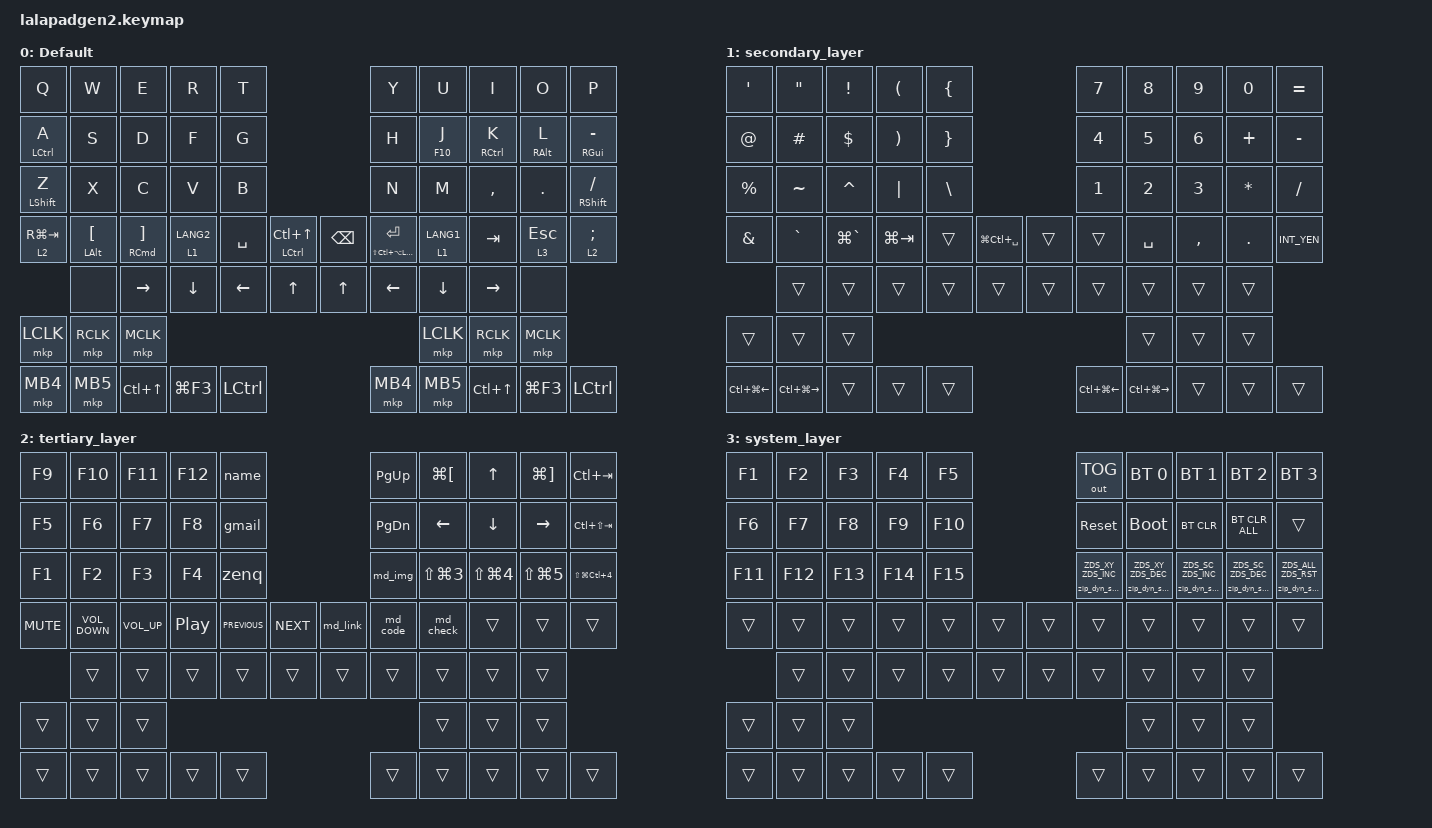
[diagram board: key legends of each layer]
#include <input/processors.dtsi>
#include <dt-bindings/zmk/zip_dynamic_scale.h>
#include <behaviors.dtsi>
#include <dt-bindings/zmk/bt.h>
#include <dt-bindings/zmk/keys.h>
#include <dt-bindings/zmk/outputs.h>
#include <dt-bindings/zmk/pointing.h>

#define DEFAULT_LAYER   0
#define SECONDARY_LAYER 1
#define TERTIARY_LAYER  2
#define SYSTEM_LAYER    3

&mt { tapping-term-ms = <120>; quick-tap-ms = <200>; };

&lt { tapping-term-ms = <120>; quick-tap-ms = <200>; };

/ {
    behaviors {
        zip_dyn_scale: zip_dyn_scale {
            compatible = "zmk,behavior-zip-dynamic-scale";
            #binding-cells = <2>;
        };

        zip_dyn_scale_set: zip_dyn_scale_set {
            compatible = "zmk,behavior-zip-dynamic-scale-set";
            #binding-cells = <2>;
        };

        mt2: mod_tap2 {
            compatible = "zmk,behavior-hold-tap";
            #binding-cells = <2>;
            flavor = "tap-preferred";
            tapping-term-ms = <120>;
            quick-tap-ms = <200>;
            require-prior-idle-ms = <125>;
            bindings = <&kp>, <&kp>;
        };

        hyper_t: hyper_tap {
            compatible = "zmk,behavior-hold-tap";
            #binding-cells = <2>;
            flavor = "hold-preferred";
            tapping-term-ms = <170>;
            quick-tap-ms = <200>;
            bindings = <&kp>, <&kp>;
        };

        tap_dance_layer_1and2: tap_dance_layer_1and2 {
            compatible = "zmk,behavior-tap-dance";
            label = "td_mo12";
            #binding-cells = <0>;
            bindings = <&mo 1>, <&mo 2>;
        };
    };

    combos {
        compatible = "zmk,combos";

        CONBO_ESC {
            bindings = <&kp ESCAPE>;
            key-positions = <0 1>;
        };
    };

    macros {
        name: name {
            compatible = "zmk,behavior-macro";
            #binding-cells = <0>;
            bindings = <&none &kp J &kp U &kp N &kp K &kp I &kp DOT &kp M &kp I &kp Y &kp A &kp N &kp A &kp R &kp I>;
            label = "NAME";
        };

        gmail: gmail {
            compatible = "zmk,behavior-macro";
            #binding-cells = <0>;
            bindings = <&none &kp AT &kp G &kp M &kp A &kp I &kp L &kp DOT &kp C &kp O &kp M>;
            label = "GMAIL";
        };

        zenq: zenq {
            compatible = "zmk,behavior-macro";
            #binding-cells = <0>;
            bindings = <&none &kp AT &kp Z &kp E &kp N &kp Q &kp DOT &kp S &kp T &kp U &kp D &kp I &kp O>;
            label = "ZENQ";
        };

        md_img: md_img {
            compatible = "zmk,behavior-macro";
            #binding-cells = <0>;
            bindings = <&none &kp LT &kp I &kp M &kp G &kp SPACE &kp S &kp R &kp C &kp EQUAL &kp DQT &kp DQT &kp SPACE &kp W &kp I &kp D &kp T &kp H &kp EQUAL &kp DQT &kp N6 &kp N0 &kp N0 &kp DQT &kp GT>;
            label = "MD_IMG";
        };

        md_link: md_link {
            compatible = "zmk,behavior-macro";
            #binding-cells = <0>;
            bindings = <&none &kp LBKT &kp RBKT &kp LPAR &kp RPAR &kp LEFT &kp LEFT &kp LEFT>;
            label = "MD_LINK";
        };

        md_code: md_code {
            compatible = "zmk,behavior-macro";
            #binding-cells = <0>;
            bindings = <&none &kp GRAVE &kp GRAVE &kp GRAVE &kp ENTER &kp ENTER &kp GRAVE &kp GRAVE &kp GRAVE &kp UP>;
            label = "MD_CODE";
        };

        md_check: md_check {
            compatible = "zmk,behavior-macro";
            #binding-cells = <0>;
            bindings = <&none &kp MINUS &kp SPACE &kp LBKT &kp SPACE &kp RBKT &kp SPACE>;
            label = "MD_CHECK";
        };
    };

    keymap {
        compatible = "zmk,keymap";

        DEFAULT_LAYER {
            display-name = "Default";
            bindings = <
&kp Q                &kp W                       &kp E                             &kp R       &kp T                                                       &kp Y        &kp U      &kp I              &kp O             &kp P
&mt2 LEFT_CONTROL A  &kp S                       &kp D                             &kp F       &kp G                                                       &kp H        &mt2 F10 J &mt2 RIGHT_CONTROL K  &mt2 RIGHT_ALT L  &mt2 RIGHT_GUI MINUS
&mt2 LEFT_SHIFT Z    &kp X                       &kp C                             &kp V       &kp B                                                       &kp N        &kp M      &kp COMMA          &kp PERIOD        &mt2 RIGHT_SHIFT SLASH
&lt 2 RG(TAB)        &mt2 LEFT_ALT LEFT_BRACKET  &mt2 RIGHT_COMMAND RIGHT_BRACKET  &lt 1 LANG2  &kp SPACE   &mt2 LEFT_CONTROL LC(UP_ARROW)  &kp BACKSPACE  &hyper_t LS(LC(LA(LGUI))) ENTER  &lt 1 LANG1  &kp TAB  &lt 3 ESC         &lt 2 SEMICOLON
                     &none                       &kp RIGHT                         &kp DOWN    &kp LEFT     &kp UP                          &kp UP         &kp LEFT     &kp DOWN   &kp RIGHT          &none
&mkp LCLK            &mkp RCLK                   &mkp MCLK                                                                                                                         &mkp LCLK          &mkp RCLK         &mkp MCLK
&mkp MB4             &mkp MB5                    &kp LC(UP_ARROW)                  &kp LG(F3)  &kp LCTRL                                                   &mkp MB4     &mkp MB5   &kp LC(UP_ARROW)   &kp LG(F3)        &kp LCTRL
            >;
        };

        SECONDARY_LAYER {
            display-name = "secondary_layer";
            bindings = <
&kp SINGLE_QUOTE  &kp DOUBLE_QUOTES  &kp EXCLAMATION  &kp LEFT_PARENTHESIS   &kp LEFT_BRACE                              &kp N7            &kp NUMBER_8       &kp NUMBER_9  &kp NUMBER_0  &kp EQUAL
&kp AT            &kp HASH           &kp DOLLAR       &kp RIGHT_PARENTHESIS  &kp RIGHT_BRACE                             &kp NUMBER_4      &kp NUMBER_5       &kp NUMBER_6  &kp PLUS      &kp MINUS
&kp PERCENT       &kp TILDE          &kp CARET        &kp PIPE               &kp BACKSLASH                               &kp NUMBER_1      &kp NUMBER_2       &kp NUMBER_3  &kp ASTRK     &kp SLASH
&kp AMPERSAND     &kp GRAVE          &kp LG(GRAVE)    &kp LG(TAB)            &trans           &kp LG(LC(SPACE))  &trans  &trans            &kp SPACE          &kp COMMA     &kp DOT       &kp INT_YEN
                  &trans             &trans           &trans                 &trans           &trans             &trans  &trans            &trans             &trans        &trans
&trans            &trans             &trans                                                                                                                   &trans        &trans        &trans
&kp LC(LG(LEFT))  &kp LC(LG(RIGHT))  &trans           &trans                 &trans                                      &kp LC(LG(LEFT))  &kp LC(LG(RIGHT))  &trans        &trans        &trans
            >;
        };

        TERTIARY_LAYER {
            display-name = "tertiary_layer";
            bindings = <
&kp F9      &kp F10            &kp F11          &kp F12           &name                                          &kp PAGE_UP    &kp LG(LBKT)    &kp UP_ARROW    &kp LG(RBKT)    &kp LC(TAB)
&kp F5      &kp F6             &kp F7           &kp F8            &gmail                                         &kp PAGE_DOWN  &kp LEFT        &kp DOWN_ARROW  &kp RIGHT       &kp LC(LS(TAB))
&kp F1      &kp F2             &kp F3           &kp F4            &zenq                                          &md_img        &kp LS(LG(N3))  &kp LS(LG(N4))  &kp LS(LG(N5))  &kp LS(LG(LC(N4)))
&kp C_MUTE  &kp C_VOLUME_DOWN  &kp C_VOLUME_UP  &kp C_PLAY_PAUSE  &kp C_PREVIOUS  &kp C_NEXT  &md_link           &md_code       &md_check       &trans          &trans          &trans
            &trans             &trans           &trans            &trans          &trans      &trans             &trans         &trans          &trans          &trans
&trans      &trans             &trans                                                                                                           &trans          &trans          &trans
&trans      &trans             &trans           &trans            &trans                                         &trans         &trans          &trans          &trans          &trans
            >;
        };

        SYSTEM_LAYER {
            display-name = "system_layer";
            bindings = <
&kp F1   &kp F2   &kp F3   &kp F4   &kp F5                   &out OUT_TOG                   &bt BT_SEL 0                   &bt BT_SEL 1                   &bt BT_SEL 2                   &bt BT_SEL 3
&kp F6   &kp F7   &kp F8   &kp F9   &kp F10                  &sys_reset                     &bootloader                    &bt BT_CLR                     &bt BT_CLR_ALL                 &trans
&kp F11  &kp F12  &kp F13  &kp F14  &kp F15                  &zip_dyn_scale ZDS_XY ZDS_INC  &zip_dyn_scale ZDS_XY ZDS_DEC  &zip_dyn_scale ZDS_SC ZDS_INC  &zip_dyn_scale ZDS_SC ZDS_DEC  &zip_dyn_scale ZDS_ALL ZDS_RST
&trans   &trans   &trans   &trans   &trans   &trans  &trans  &trans                         &trans                         &trans                         &trans                         &trans
         &trans   &trans   &trans   &trans   &trans  &trans  &trans                         &trans                         &trans                         &trans
&trans   &trans   &trans                                                                                                   &trans                         &trans                         &trans
&trans   &trans   &trans   &trans   &trans                   &trans                         &trans                         &trans                         &trans                         &trans
            >;
        };
    };

    conditional_layers {
        compatible = "zmk,conditional-layers";

        Cond_Syslayer {
            if-layers = <1 2>;
            then-layer = <3>;
        };
    };
};
